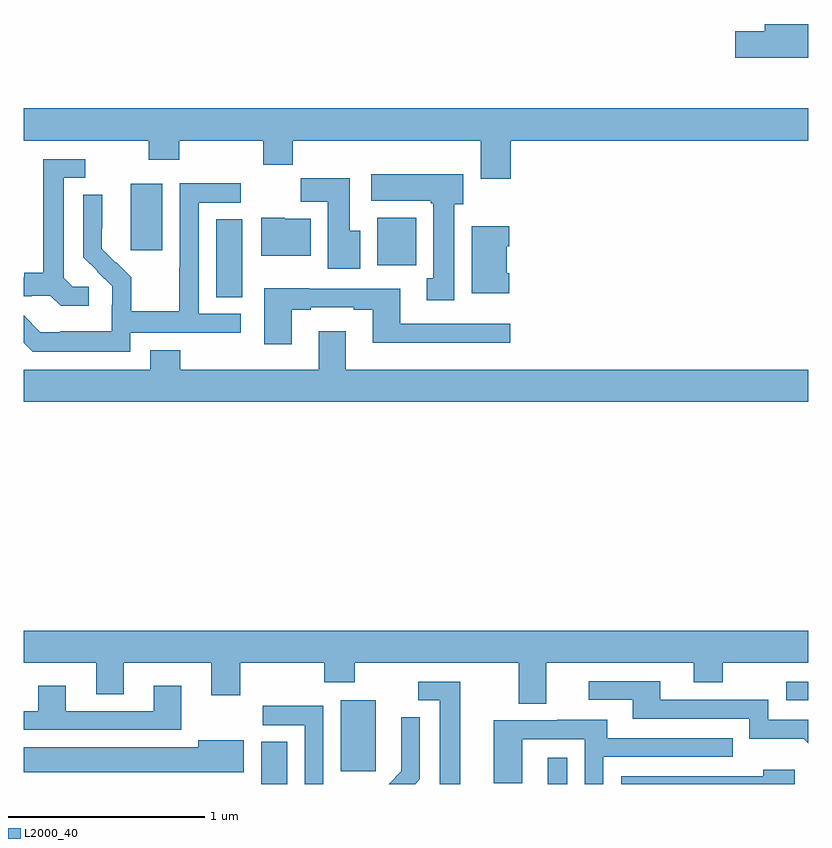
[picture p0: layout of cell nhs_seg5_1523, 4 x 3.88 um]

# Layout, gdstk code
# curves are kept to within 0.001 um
import gdstk
lib = gdstk.Library(unit=1e-6, precision=1e-09)
def R(c, l, rs):  # rectangles x0, y0, x1, y1
    for r in rs: c.add(gdstk.rectangle(r[:2], r[2:], *l))
def P(c, l, *ps):  # polygons
    for p in ps: c.add(gdstk.Polygon(p, *l))
L2000_40 = (2000, 40)

nhs_seg5_1523 = lib.new_cell('nhs_seg5_1523')
R(nhs_seg5_1523, L2000_40, [(204.212,866.799,204.343,867.014), (205.673,866.799,205.77,866.932), (204.617,866.865,204.796,867.226), (206.889,867.225,207,867.321), (203.981,869.281,204.115,869.678), (204.803,869.444,205,869.686), (203.546,869.52,203.707,869.86)])
P(nhs_seg5_1523, L2000_40, [(207,870.674),(206.777,870.674),(206.777,870.638),(206.628,870.638),(206.628,870.503),(207,870.503)],
  [(205.484,870.08),(207,870.08),(207,870.244),(203,870.244),(203,870.08),(203.638,870.08),(203.638,869.981),(203.793,869.981),(203.793,870.08),(204.22,870.08),(204.22,869.956),(204.371,869.956),(204.371,870.08),(205.331,870.08),(205.331,869.886),(205.484,869.886)],
  [(203.332,869.334),(203.25,869.334),(203.203,869.381),(203.203,869.889),(203.314,869.889),(203.314,869.985),(203.099,869.985),(203.099,869.405),(203.003,869.405),(203.003,869.382),(203,869.382),(203,869.286),(203.042,869.286),(203.042,869.289),(203.136,869.289),(203.188,869.237),(203.332,869.237)],
  [(205.195,869.754),(205.24,869.754),(205.24,869.908),(204.771,869.908),(204.771,869.774),(205.075,869.774),(205.075,869.761),(205.088,869.761),(205.088,869.378),(205.055,869.378),(205.055,869.265),(205.195,869.265)],
  [(204.715,869.62),(204.661,869.62),(204.661,869.887),(204.412,869.887),(204.412,869.768),(204.551,869.768),(204.551,869.427),(204.715,869.427)],
  [(203.544,869.1),(204.106,869.1),(204.106,869.196),(203.892,869.196),(203.892,869.763),(204.106,869.763),(204.106,869.862),(203.796,869.862),(203.796,869.432),(203.794,869.432),(203.794,869.209),(203.549,869.209),(203.549,869.383),(203.472,869.46),(203.469,869.457),(203.399,869.528),(203.399,869.632),(203.401,869.632),(203.401,869.804),(203.304,869.804),(203.304,869.486),(203.45,869.338),(203.45,869.241),(203.448,869.241),(203.448,869.107),(203.185,869.107),(203.185,869.103),(203.085,869.103),(203,869.188),(203,869.05),(203.047,869.003),(203.544,869.003)],
  [(204.463,869.68),(204.33,869.68),(204.33,869.686),(204.212,869.686),(204.212,869.492),(204.463,869.492)],
  [(205.475,869.404),(205.462,869.404),(205.462,869.54),(205.475,869.54),(205.475,869.644),(205.283,869.644),(205.283,869.3),(205.475,869.3)],
  [(204.367,869.217),(204.463,869.217),(204.463,869.229),(204.683,869.229),(204.683,869.217),(204.779,869.217),(204.779,869.048),(205.48,869.048),(205.48,869.145),(204.919,869.145),(204.919,869.325),(204.455,869.325),(204.455,869.326),(204.227,869.326),(204.227,869.04),(204.367,869.04)],
  [(207,868.912),(204.643,868.912),(204.643,869.107),(204.503,869.107),(204.503,868.912),(203.798,868.912),(203.798,869.011),(203.645,869.011),(203.645,868.912),(203,868.912),(203,868.748),(207,868.748)],
  [(205.663,867.416),(206.417,867.416),(206.417,867.317),(206.565,867.317),(206.565,867.416),(207,867.416),(207,867.58),(203,867.58),(203,867.416),(203.369,867.416),(203.369,867.256),(203.509,867.256),(203.509,867.416),(203.957,867.416),(203.957,867.252),(204.105,867.252),(204.105,867.416),(204.532,867.416),(204.532,867.317),(204.687,867.317),(204.687,867.416),(205.523,867.416),(205.523,867.208),(205.663,867.208)],
  [(207,867.126),(206.796,867.126),(206.796,867.228),(206.245,867.228),(206.245,867.324),(205.881,867.324),(205.881,867.228),(206.105,867.228),(206.105,867.132),(206.7,867.132),(206.7,867.029),(206.977,867.029),(207,867.006)],
  [(205.225,867.321),(205.011,867.321),(205.011,867.225),(205.121,867.225),(205.121,866.799),(205.225,866.799)],
  [(203.803,867.301),(203.663,867.301),(203.663,867.171),(203.215,867.171),(203.215,867.301),(203.075,867.301),(203.075,867.171),(203,867.171),(203,867.075),(203.803,867.075)],
  [(204.528,867.198),(204.219,867.198),(204.219,867.099),(204.432,867.099),(204.432,866.799),(204.528,866.799)],
  [(205.02,866.822),(205.02,867.14),(204.924,867.14),(204.924,866.986),(204.926,866.986),(204.926,866.864),(204.861,866.799),(204.997,866.799)],
  [(205.956,866.937),(206.615,866.937),(206.615,867.033),(205.975,867.033),(205.975,867.127),(205.721,867.127),(205.721,867.123),(205.397,867.123),(205.397,866.803),(205.542,866.803),(205.542,867.027),(205.86,867.027),(205.86,866.799),(205.956,866.799)],
  [(204.121,867.022),(203.891,867.022),(203.891,866.986),(203,866.986),(203,866.858),(204.121,866.858)],
  [(206.932,866.872),(206.771,866.872),(206.771,866.838),(206.046,866.838),(206.046,866.799),(206.932,866.799)])

lib.write_gds('nhs_seg5_1523.gds')
